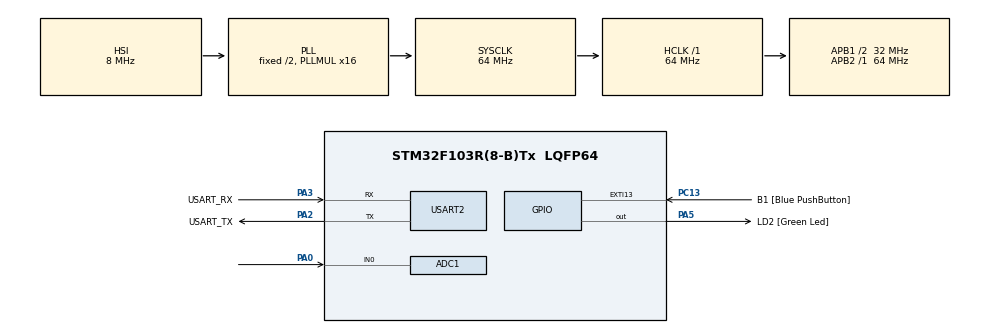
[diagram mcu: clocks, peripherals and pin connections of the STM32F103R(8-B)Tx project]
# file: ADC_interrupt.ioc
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Mcu.Family=STM32F1
PC15-OSC32_OUT.Mode=LSE-External-Oscillator
NVIC.ADC1_2_IRQn=true\:0\:0\:false\:false\:true\:true\:true
PA2.GPIO_PuPd=GPIO_NOPULL
PD1-OSC_OUT.Mode=HSE-External-Clock-Source
ADC1.ContinuousConvMode=ENABLE
SH.SharedAnalog_PA0.0=GPIO_Analog
SH.SharedAnalog_PA0.1=ADC1_IN0,IN0
PA14.GPIO_Label=TCK
PA3.GPIO_PuPd=GPIO_NOPULL
PA2.GPIO_Speed=GPIO_SPEED_FREQ_LOW
PC13-TAMPER-RTC.Signal=GPXTI13
PD0-OSC_IN.Signal=RCC_OSC_IN
RCC.APB1CLKDivider=RCC_HCLK_DIV2
PC14-OSC32_IN.Signal=RCC_OSC32_IN
PA3.GPIO_Speed=GPIO_SPEED_FREQ_LOW
RCC.SYSCLKSource=RCC_SYSCLKSOURCE_PLLCLK
ProjectManager.StackSize=0x400
PA0-WKUP.Signal=SharedAnalog_PA0
PD1-OSC_OUT.Signal=RCC_OSC_OUT
RCC.ADCPresc=RCC_ADCPCLK2_DIV8
PA3.Mode=Asynchronous
PA13.Signal=SYS_JTMS-SWDIO
ProjectManager.TargetToolchain=TrueSTUDIO
ADC1.Channel-3\#ChannelRegularConversion=ADC_CHANNEL_0
PA3.GPIO_Mode=GPIO_MODE_AF_PP
RCC.HCLKFreq_Value=64000000
RCC.APB2TimFreq_Value=64000000
RCC.USBFreq_Value=64000000
PC15-OSC32_OUT.Signal=RCC_OSC32_OUT
RCC.AHBFreq_Value=64000000
PD0-OSC_IN.Mode=HSE-External-Clock-Source
NVIC.EXTI15_10_IRQn=true\:0\:0\:false\:false\:true\:true\:true
PA5.Signal=GPIO_Output
board=NUCLEO-F103RB
RCC.RTCClockSelection=RCC_RTCCLKSOURCE_LSE
PC13-TAMPER-RTC.GPIO_Label=B1 [Blue PushButton]
RCC.PLLMUL=RCC_PLL_MUL16
RCC.APB2Freq_Value=64000000
PC14-OSC32_IN.Mode=LSE-External-Oscillator
PA5.GPIO_ModeDefaultOutputPP=GPIO_MODE_OUTPUT_PP
PA14.Mode=Serial_Wire
PA5.GPIO_PuPd=GPIO_NOPULL
PA13.Mode=Serial_Wire
Mcu.Name=STM32F103R(8-B)Tx
PA2.Signal=USART2_TX
PA13.GPIO_Label=TMS
PB3.Signal=SYS_JTDO-TRACESWO
RCC.SYSCLKFreq_VALUE=64000000
Mcu.Package=LQFP64
ADC1.master=1
PA5.GPIO_Label=LD2 [Green Led]
ADC1.Rank-3\#ChannelRegularConversion=1
ADC1.SamplingTime-3\#ChannelRegularConversion=ADC_SAMPLETIME_239CYCLES_5
USART2.VirtualMode=VM_ASYNC
PC13-TAMPER-RTC.GPIO_PuPd=GPIO_NOPULL
PA2.GPIO_Label=USART_TX
PA14.Signal=SYS_JTCK-SWCLK
ProjectManager.HeapSize=0x200
PA5.GPIO_Speed=GPIO_SPEED_FREQ_LOW
NVIC.PriorityGroup=NVIC_PRIORITYGROUP_4
ADC1.NbrOfConversionFlag=1
RCC.APB1TimFreq_Value=64000000
PA2.Mode=Asynchronous
RCC.APB1Freq_Value=32000000
PA3.GPIO_Label=USART_RX
PA3.Signal=USART2_RX
PA2.GPIO_Mode=GPIO_MODE_AF_PP
PB3.GPIO_Label=SWO

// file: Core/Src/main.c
/* USER CODE BEGIN Header */
/**
  ******************************************************************************
  * @file           : main.c
  * @brief          : Main program body
  ******************************************************************************
  * @attention
  *
  * <h2><center>&copy; Copyright (c) 2021 STMicroelectronics.
  * All rights reserved.</center></h2>
  *
  * This software component is licensed by ST under BSD 3-Clause license,
  * the "License"; You may not use this file except in compliance with the
  * License. You may obtain a copy of the License at:
  *                        opensource.org/licenses/BSD-3-Clause
  *
  ******************************************************************************
  */
/* USER CODE END Header */
#include "main.h"

ADC_HandleTypeDef hadc1;

UART_HandleTypeDef huart2;

/* USER CODE BEGIN PV */
volatile uint16_t converted_value;

/* USER CODE END PV */

void SystemClock_Config(void);
static void MX_GPIO_Init(void);
static void MX_ADC1_Init(void);
static void MX_USART2_UART_Init(void);

/* USER CODE BEGIN 0 */
#ifdef __GNUC__
#define PUTCHAR_PROTOTYPE int __io_putchar(int ch)
#else
#define PUTCHAR_PROTOTYPE int fputc(int ch, FILE *f)
#endif

PUTCHAR_PROTOTYPE
{
	if(ch == '\n')
		HAL_UART_Transmit(&huart2, (uint8_t*) "\r", 1, 0xFFFF);
	HAL_UART_Transmit(&huart2, (uint8_t*) &ch, 1, 0xFFFF);

	return ch;
}
/* USER CODE END 0 */

int main(void)
{

  /* MCU Configuration--------------------------------------------------------*/

  /* Reset of all peripherals, Initializes the Flash interface and the Systick. */
  HAL_Init();

  /* Configure the system clock */
  SystemClock_Config();

  /* Initialize all configured peripherals */
  MX_GPIO_Init();
  MX_ADC1_Init();
  MX_USART2_UART_Init();

  /* Infinite loop */
  /* USER CODE BEGIN WHILE */

  if(HAL_ADCEx_Calibration_Start(&hadc1) != HAL_OK){
	  Error_Handler();
  }

  if(HAL_ADC_Start_IT(&hadc1)!=HAL_OK){
	  Error_Handler();
  }

  while (1)
  {
	  printf("%d\n", converted_value);
	  HAL_Delay(100);
    /* USER CODE END WHILE */

  }
}

void SystemClock_Config(void)
{
  RCC_OscInitTypeDef RCC_OscInitStruct = {0};
  RCC_ClkInitTypeDef RCC_ClkInitStruct = {0};
  RCC_PeriphCLKInitTypeDef PeriphClkInit = {0};

  /** Initializes the RCC Oscillators according to the specified parameters
  * in the RCC_OscInitTypeDef structure.
  */
  RCC_OscInitStruct.OscillatorType = RCC_OSCILLATORTYPE_HSI;
  RCC_OscInitStruct.HSIState = RCC_HSI_ON;
  RCC_OscInitStruct.HSICalibrationValue = RCC_HSICALIBRATION_DEFAULT;
  RCC_OscInitStruct.PLL.PLLState = RCC_PLL_ON;
  RCC_OscInitStruct.PLL.PLLSource = RCC_PLLSOURCE_HSI_DIV2;
  RCC_OscInitStruct.PLL.PLLMUL = RCC_PLL_MUL16;
  if (HAL_RCC_OscConfig(&RCC_OscInitStruct) != HAL_OK)
  {
    Error_Handler();
  }
  /** Initializes the CPU, AHB and APB buses clocks
  */
  RCC_ClkInitStruct.ClockType = RCC_CLOCKTYPE_HCLK|RCC_CLOCKTYPE_SYSCLK
                              |RCC_CLOCKTYPE_PCLK1|RCC_CLOCKTYPE_PCLK2;
  RCC_ClkInitStruct.SYSCLKSource = RCC_SYSCLKSOURCE_PLLCLK;
  RCC_ClkInitStruct.AHBCLKDivider = RCC_SYSCLK_DIV1;
  RCC_ClkInitStruct.APB1CLKDivider = RCC_HCLK_DIV2;
  RCC_ClkInitStruct.APB2CLKDivider = RCC_HCLK_DIV1;

  if (HAL_RCC_ClockConfig(&RCC_ClkInitStruct, FLASH_LATENCY_2) != HAL_OK)
  {
    Error_Handler();
  }
  PeriphClkInit.PeriphClockSelection = RCC_PERIPHCLK_ADC;
  PeriphClkInit.AdcClockSelection = RCC_ADCPCLK2_DIV8;
  if (HAL_RCCEx_PeriphCLKConfig(&PeriphClkInit) != HAL_OK)
  {
    Error_Handler();
  }
}

static void MX_ADC1_Init(void)
{

  ADC_ChannelConfTypeDef sConfig = {0};

  /** Common config
  */
  hadc1.Instance = ADC1;
  hadc1.Init.ScanConvMode = ADC_SCAN_DISABLE;
  hadc1.Init.ContinuousConvMode = ENABLE;
  hadc1.Init.DiscontinuousConvMode = DISABLE;
  hadc1.Init.ExternalTrigConv = ADC_SOFTWARE_START;
  hadc1.Init.DataAlign = ADC_DATAALIGN_RIGHT;
  hadc1.Init.NbrOfConversion = 1;
  if (HAL_ADC_Init(&hadc1) != HAL_OK)
  {
    Error_Handler();
  }
  /** Configure Regular Channel
  */
  sConfig.Channel = ADC_CHANNEL_0;
  sConfig.Rank = ADC_REGULAR_RANK_1;
  sConfig.SamplingTime = ADC_SAMPLETIME_239CYCLES_5;
  if (HAL_ADC_ConfigChannel(&hadc1, &sConfig) != HAL_OK)
  {
    Error_Handler();
  }

}

static void MX_USART2_UART_Init(void)
{

  huart2.Instance = USART2;
  huart2.Init.BaudRate = 115200;
  huart2.Init.WordLength = UART_WORDLENGTH_8B;
  huart2.Init.StopBits = UART_STOPBITS_1;
  huart2.Init.Parity = UART_PARITY_NONE;
  huart2.Init.Mode = UART_MODE_TX_RX;
  huart2.Init.HwFlowCtl = UART_HWCONTROL_NONE;
  huart2.Init.OverSampling = UART_OVERSAMPLING_16;
  if (HAL_UART_Init(&huart2) != HAL_OK)
  {
    Error_Handler();
  }

}

static void MX_GPIO_Init(void)
{
  GPIO_InitTypeDef GPIO_InitStruct = {0};

  /* GPIO Ports Clock Enable */
  __HAL_RCC_GPIOC_CLK_ENABLE();
  __HAL_RCC_GPIOD_CLK_ENABLE();
  __HAL_RCC_GPIOA_CLK_ENABLE();
  __HAL_RCC_GPIOB_CLK_ENABLE();

  /*Configure GPIO pin Output Level */
  HAL_GPIO_WritePin(LD2_GPIO_Port, LD2_Pin, GPIO_PIN_RESET);

  /*Configure GPIO pin : B1_Pin */
  GPIO_InitStruct.Pin = B1_Pin;
  GPIO_InitStruct.Mode = GPIO_MODE_IT_RISING;
  GPIO_InitStruct.Pull = GPIO_NOPULL;
  HAL_GPIO_Init(B1_GPIO_Port, &GPIO_InitStruct);

  /*Configure GPIO pin : LD2_Pin */
  GPIO_InitStruct.Pin = LD2_Pin;
  GPIO_InitStruct.Mode = GPIO_MODE_OUTPUT_PP;
  GPIO_InitStruct.Pull = GPIO_NOPULL;
  GPIO_InitStruct.Speed = GPIO_SPEED_FREQ_LOW;
  HAL_GPIO_Init(LD2_GPIO_Port, &GPIO_InitStruct);

  /* EXTI interrupt init*/
  HAL_NVIC_SetPriority(EXTI15_10_IRQn, 0, 0);
  HAL_NVIC_EnableIRQ(EXTI15_10_IRQn);

}

/* USER CODE BEGIN 4 */
void HAL_ADC_ConvCpltCallback(ADC_HandleTypeDef* hadc){
	  converted_value = HAL_ADC_GetValue(hadc);
}
/* USER CODE END 4 */

void Error_Handler(void)
{
  __disable_irq();
  while (1)
  {
  }
}

/************************ (C) COPYRIGHT STMicroelectronics *****END OF FILE****/
